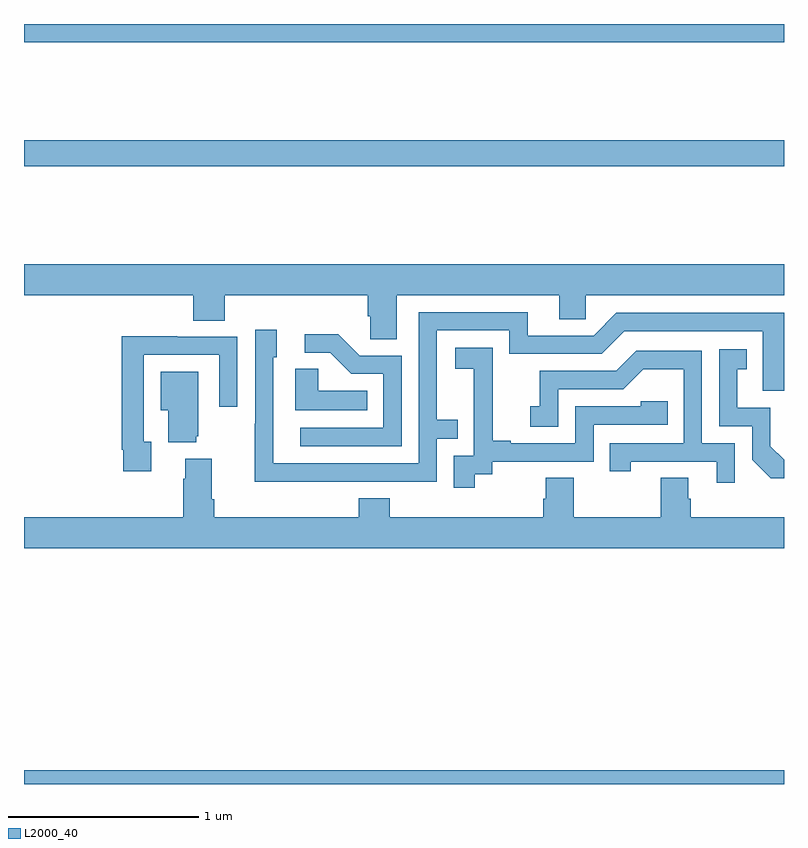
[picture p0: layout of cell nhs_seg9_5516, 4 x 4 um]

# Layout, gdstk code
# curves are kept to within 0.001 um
import gdstk
lib = gdstk.Library(unit=1e-6, precision=1e-09)
def R(c, l, rs):  # rectangles x0, y0, x1, y1
    for r in rs: c.add(gdstk.rectangle(r[:2], r[2:], *l))
def P(c, l, *ps):  # polygons
    for p in ps: c.add(gdstk.Polygon(p, *l))
L2000_40 = (2000, 40)

nhs_seg9_5516 = lib.new_cell('nhs_seg9_5516')
R(nhs_seg9_5516, L2000_40, [(431,1208.5,435,1208.572), (431,1211.752,435,1211.888), (431,1212.404,435,1212.5)])
P(nhs_seg9_5516, L2000_40, [(432.961,1211.072),(433.817,1211.072),(433.817,1210.945),(433.956,1210.945),(433.956,1211.072),(435,1211.072),(435,1211.236),(431,1211.236),(431,1211.072),(431.891,1211.072),(431.891,1210.939),(432.056,1210.939),(432.056,1211.072),(432.809,1211.072),(432.809,1210.963),(432.822,1210.963),(432.822,1210.84),(432.961,1210.84)],
  [(432.677,1210.092),(433.173,1210.092),(433.173,1210.317),(433.283,1210.317),(433.283,1210.418),(433.173,1210.418),(433.173,1210.887),(433.554,1210.887),(433.554,1210.764),(434.04,1210.764),(434.16,1210.884),(434.889,1210.884),(434.889,1210.569),(435,1210.569),(435,1210.98),(434.118,1210.98),(433.998,1210.86),(433.651,1210.86),(433.651,1210.983),(433.077,1210.983),(433.077,1210.188),(432.312,1210.188),(432.312,1210.746),(432.331,1210.746),(432.331,1210.891),(432.216,1210.891),(432.216,1210.397),(432.214,1210.397),(432.214,1210.091)],
  [(432.987,1210.755),(432.768,1210.755),(432.655,1210.868),(432.477,1210.868),(432.477,1210.77),(432.611,1210.77),(432.722,1210.659),(432.891,1210.659),(432.891,1210.374),(432.453,1210.374),(432.453,1210.278),(432.987,1210.278)],
  [(431.671,1210.302),(431.631,1210.302),(431.631,1210.758),(432.027,1210.758),(432.027,1210.485),(432.123,1210.485),(432.123,1210.854),(431.807,1210.854),(431.807,1210.856),(431.515,1210.856),(431.515,1210.258),(431.523,1210.258),(431.523,1210.146),(431.671,1210.146)],
  [(433.372,1210.129),(433.464,1210.129),(433.464,1210.197),(433.998,1210.197),(433.998,1210.392),(434.387,1210.392),(434.387,1210.515),(434.247,1210.515),(434.247,1210.488),(433.902,1210.488),(433.902,1210.293),(433.561,1210.293),(433.561,1210.306),(433.466,1210.306),(433.466,1210.589),(433.467,1210.589),(433.467,1210.795),(433.269,1210.795),(433.269,1210.685),(433.367,1210.685),(433.367,1210.457),(433.368,1210.457),(433.368,1210.227),(433.263,1210.227),(433.263,1210.059),(433.372,1210.059)],
  [(435,1210.206),(434.928,1210.278),(434.928,1210.479),(434.755,1210.479),(434.755,1210.683),(434.804,1210.683),(434.804,1210.789),(434.658,1210.789),(434.658,1210.383),(434.832,1210.383),(434.832,1210.206),(434.93,1210.109),(435,1210.109)],
  [(434.742,1210.293),(434.568,1210.293),(434.568,1210.779),(434.222,1210.779),(434.117,1210.674),(433.714,1210.674),(433.714,1210.489),(433.665,1210.489),(433.665,1210.38),(433.812,1210.38),(433.812,1210.578),(434.154,1210.578),(434.258,1210.682),(434.472,1210.682),(434.472,1210.293),(434.083,1210.293),(434.083,1210.146),(434.194,1210.146),(434.194,1210.197),(434.645,1210.197),(434.645,1210.086),(434.742,1210.086)],
  [(432.806,1210.57),(432.549,1210.57),(432.549,1210.685),(432.428,1210.685),(432.428,1210.466),(432.806,1210.466)],
  [(431.906,1210.329),(431.917,1210.329),(431.917,1210.669),(431.72,1210.669),(431.72,1210.466),(431.759,1210.466),(431.759,1210.298),(431.906,1210.298)],
  [(435,1209.904),(434.51,1209.904),(434.51,1210.002),(434.497,1210.002),(434.497,1210.112),(434.35,1210.112),(434.35,1209.904),(433.893,1209.904),(433.893,1210.112),(433.745,1210.112),(433.745,1210.002),(433.733,1210.002),(433.733,1209.904),(432.926,1209.904),(432.926,1210.003),(432.761,1210.003),(432.761,1209.904),(432.002,1209.904),(432.002,1210),(431.989,1210),(431.989,1210.213),(431.849,1210.213),(431.849,1210.106),(431.837,1210.106),(431.837,1209.904),(431,1209.904),(431,1209.74),(435,1209.74)])

lib.write_gds('nhs_seg9_5516.gds')
